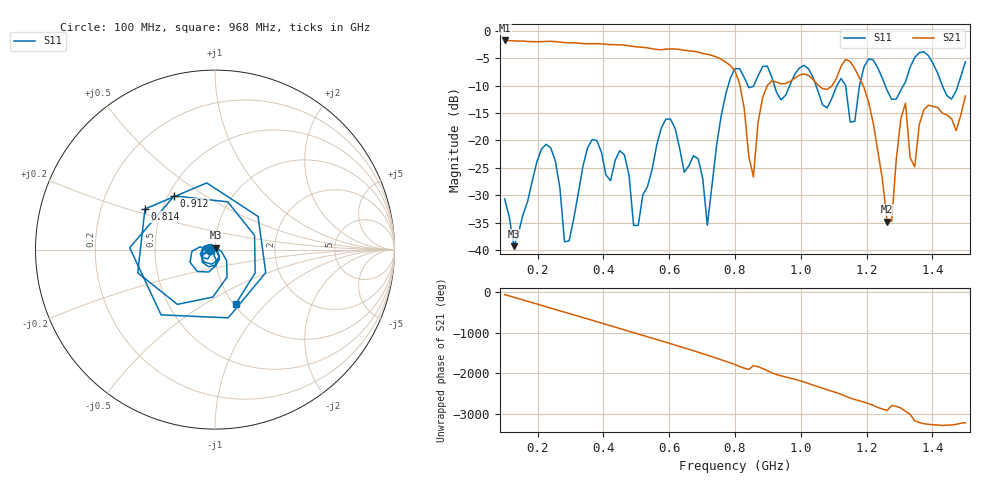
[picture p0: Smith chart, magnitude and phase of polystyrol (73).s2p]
! NanoVNA-App
! Date: 2025-09-26 09:42:27
! Start: 100MHz Stop: 1,5GHz Points: 101
! S-Parameter data: F S11 S21 S12 S22
# Hz S RI R 50
!  Frequency  S11_Real  S11_Imag  S21_Real  S21_Imag  S12_Real  S12_Imag  S22_Real  S22_Imag
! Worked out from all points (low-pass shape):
!   101 points, 100 MHz to 1.5 GHz, reference 50 ohm
!   highest |S21| = -1.79 dB at 100 MHz (marker M1); lowest = -34.8 dB at 1.262 GHz (marker M2)
!   |S21| within 3 dB of the highest: start of sweep to 743.4 MHz
!   lowest |S11| = -39.3 dB at 128 MHz (marker M3), VSWR 1.02, Z = 50.3 + j1.05 ohm
!   |S11| at or under -10 dB: start of sweep to 779.4 MHz; 1.046 GHz to 1.11 GHz (63.92 MHz wide, 5.93 % of centre); 1.256 GHz to 1.312 GHz (55.32 MHz wide, 4.31 % of centre)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
!   S12 and S22 are empty: the file has one direction only
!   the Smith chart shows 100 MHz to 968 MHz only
!   S11 on the Smith chart (normalised r, x): 100 MHz: 0.94, -0.01; 814 MHz: 0.40, +0.23; 912 MHz: 0.54, +0.38; 968 MHz: 1.02, -0.69
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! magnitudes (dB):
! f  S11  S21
! 100 MHz  -30.6  -1.8
! 128 MHz  -39.3  -1.9
! 212 MHz  -21.6  -2.0
! 282 MHz  -38.5  -2.2
! 338 MHz  -24.7  -2.4
! 464 MHz  -22.6  -2.6
! 506 MHz  -35.5  -3.0
! 576 MHz  -17.8  -3.5
! 716 MHz  -35.5  -4.3
! 800 MHz  -6.9  -7.4
! 814 MHz  -6.9  -9.6
! 856 MHz  -10.2  -26.6
! 912 MHz  -8.5  -9.1
! 968 MHz  -9.8  -9.2
! 1.038 GHz  -8.6  -8.9
! 1.164 GHz  -16.5  -6.9
! 1.206 GHz  -5.2  -13.1
! 1.262 GHz  -10.9  -34.8
! 1.276 GHz  -12.5  -34.7
! 1.318 GHz  -9.4  -13.2
! 1.346 GHz  -4.9  -24.8
! 1.5 GHz  -5.7  -11.9
